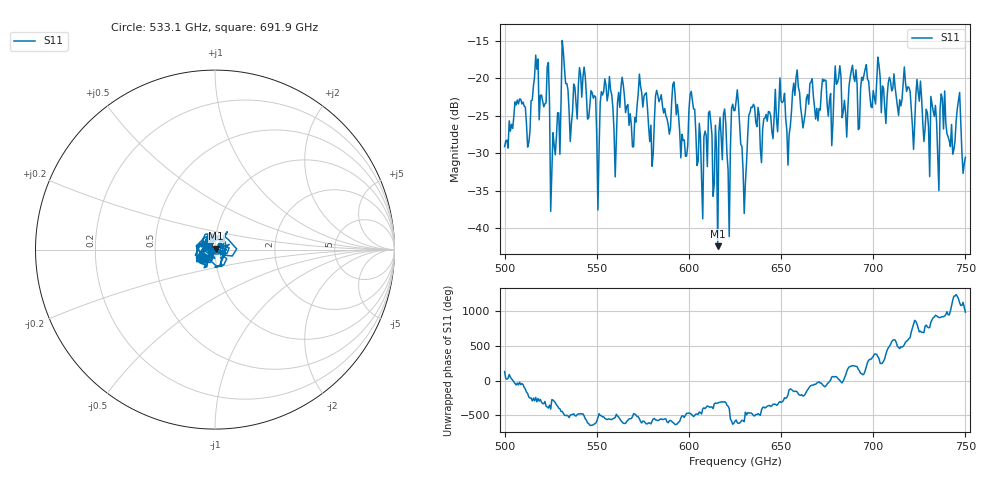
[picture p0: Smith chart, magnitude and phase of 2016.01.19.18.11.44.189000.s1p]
!Created with skrf (http://scikit-rf.org).
# GHz S RI R 50.0
!freq ReS11 ImS11
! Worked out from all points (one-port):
!   401 points, 500 GHz to 750 GHz, reference 50 ohm
!   lowest |S11| = -42.4 dB at 615.6 GHz (marker M1), VSWR 1.02, Z = 50.6 + j0.444 ohm
!   |S11| at or under -10 dB: start of sweep to end of sweep
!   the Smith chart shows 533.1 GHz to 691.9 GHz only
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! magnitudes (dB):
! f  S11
! 500 GHz  -29.1
! 506.9 GHz  -22.9
! 513.1 GHz  -28.6
! 516.9 GHz  -16.9
! 523.1 GHz  -18.5
! 526.2 GHz  -27.3
! 531.2 GHz  -15.0
! 542.5 GHz  -19.9
! 550.6 GHz  -37.6
! 553.8 GHz  -21.8
! 560 GHz  -33.1
! 562.5 GHz  -23.9
! 570 GHz  -29.1
! 574.4 GHz  -21.9
! 579.4 GHz  -26.3
! 583.1 GHz  -22.3
! 593.8 GHz  -23.5
! 615.6 GHz  -42.4
! 621.9 GHz  -41.1
! 625 GHz  -24.3
! 630 GHz  -38.0
! 633.8 GHz  -23.8
! 656.2 GHz  -21.8
! 687.5 GHz  -19.9
! 718.8 GHz  -21.2
! 734.4 GHz  -25.8
! 746.2 GHz  -23.0
! 750 GHz  -30.5
